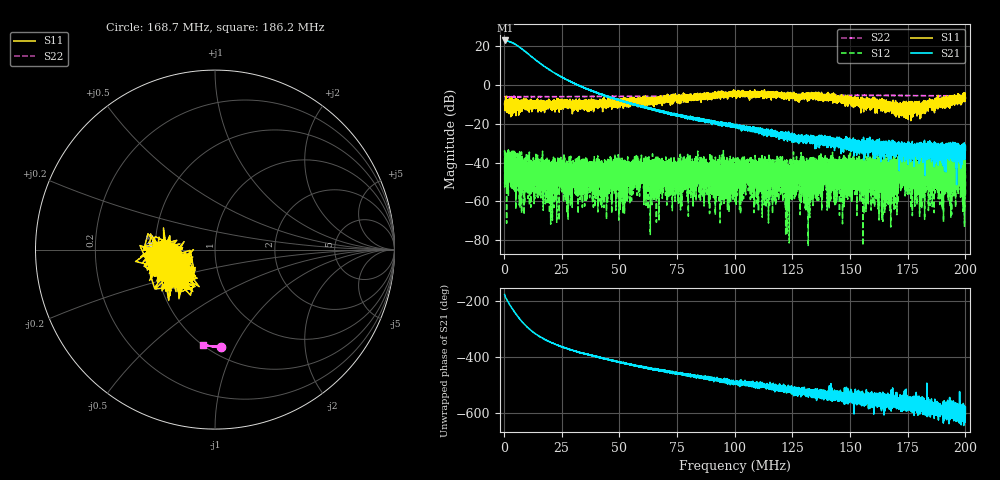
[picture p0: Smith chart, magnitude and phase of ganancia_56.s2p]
# Hz S DB R 50
! CMT, M5065, 19127446, 24.2.4/2
! Date: 10/29/2024 12:50:14 PM
! Data: Format (Calibration Info)
! Freq	S11:dB/Ang(F2)	S21:dB/Ang(F2)	S12:dB/Ang(F2)	S22:dB/Ang(F2)
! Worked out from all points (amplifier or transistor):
!   9000 points, 300 kHz to 200 MHz, reference 50 ohm
!   highest |S21| = 23.1 dB at 388.8 kHz (marker M1)
!   |S21| within 3 dB of that: start of sweep to 6.198 MHz
!   unconditionally stable (mu >= 1): start of sweep to end of sweep
!   at 33.59 MHz: K = 128.32, MAG = 0.9 dB, |S12| = -50.7 dB
!   at 100.2 MHz: K = 246.82, MAG = -16.0 dB, |S12| = -42.4 dB
!   at 200 MHz: K = 1569.36, MAG = -29.9 dB, |S12| = -42.6 dB
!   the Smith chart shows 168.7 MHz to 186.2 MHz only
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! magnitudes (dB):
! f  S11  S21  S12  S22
! 300 kHz  -9.3  23.1  -33.5  -6.0
! 388.8 kHz  -11.0  23.1  -42.4  -5.9
! 1.321 MHz  -8.1  22.9  -38.6  -6.0
! 6.003 MHz  -10.4  20.3  -41.3  -6.0
! 13.64 MHz  -8.0  13.2  -47.5  -5.9
! 19.58 MHz  -10.5  8.1  -54.6  -5.9
! 21.85 MHz  -10.4  6.4  -42.2  -5.9
! 27.66 MHz  -9.3  2.5  -42.5  -5.9
! 30.13 MHz  -9.7  1.0  -41.7  -5.9
! 33.59 MHz  -11.5  -0.7  -50.7  -5.9
! 66.87 MHz  -7.7  -13.2  -50.9  -5.7
! 85.69 MHz  -6.3  -18.2  -37.7  -5.6
! 100.2 MHz  -2.9  -20.6  -42.4  -5.7
! 105.1 MHz  -4.5  -21.6  -42.2  -5.6
! 117.4 MHz  -3.9  -24.0  -52.5  -5.5
! 119.6 MHz  -4.8  -26.0  -46.4  -5.5
! 122.9 MHz  -5.7  -28.9  -46.0  -5.4
! 133.4 MHz  -5.5  -29.5  -45.6  -5.4
! 166.7 MHz  -9.5  -31.8  -38.0  -5.3
! 171 MHz  -14.3  -29.5  -46.5  -5.3
! 180 MHz  -11.6  -34.5  -52.8  -5.4
! 200 MHz  -6.6  -32.4  -42.6  -5.5
